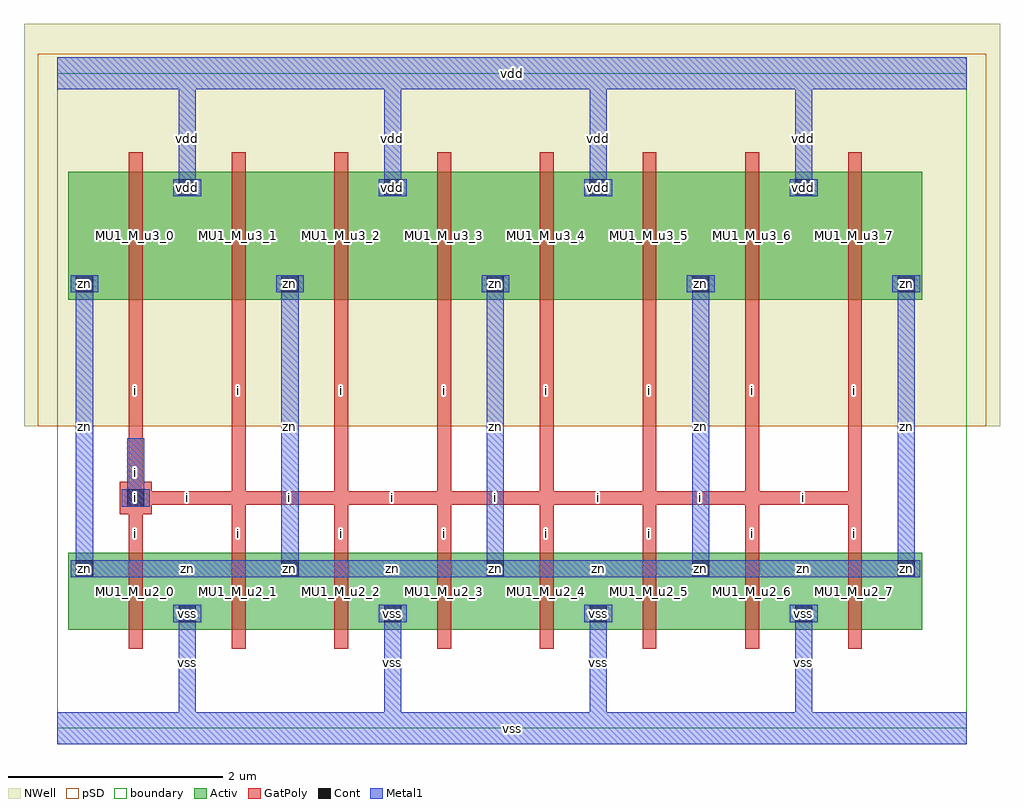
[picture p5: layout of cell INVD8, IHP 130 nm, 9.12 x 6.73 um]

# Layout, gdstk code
import gdstk
lib = gdstk.Library(unit=1e-6, precision=1e-09)
def R(c, l, rs):  # rectangles x0, y0, x1, y1
    for r in rs: c.add(gdstk.rectangle(r[:2], r[2:], *l))
def A(c, l, x, y, w, h, nx, ny, dx, dy):  # array of equal rectangles
    R(c, l, [(x+i*dx, y+j*dy, x+i*dx+w, y+j*dy+h) for i in range(nx) for j in range(ny)])
Activ = (1, 0)
GatPoly = (5, 0)
Cont = (6, 0)
Metal1 = (8, 0)
pSD = (14, 0)
NWell = (31, 0)
TEXT = (63, 0)
boundary = (189, 4)

invd8 = lib.new_cell('INVD8')
A(invd8, Activ, 0.105, 0.92, 1.26, 0.72, 8, 1, 0.96, 0)
A(invd8, Activ, 1.065, 0.92, 0.3, 0.3, 4, 2, 1.92, 3.98)
A(invd8, Activ, 0.105, 1.34, 0.3, 0.3, 5, 2, 1.92, 2.66)
A(invd8, Activ, 0.105, 4, 1.26, 1.2, 8, 1, 0.96, 0)
A(invd8, GatPoly, 0.67, 0.74, 0.13, 1.08, 8, 1, 0.96, 0)
A(invd8, GatPoly, 0.67, 1.425, 0.13, 0.79, 8, 1, 0.96, 0)
A(invd8, GatPoly, 0.67, 2.085, 1.09, 0.13, 7, 1, 0.96, 0)
A(invd8, GatPoly, 0.67, 2.085, 0.13, 2.13, 8, 1, 0.96, 0)
A(invd8, GatPoly, 0.67, 3.82, 0.13, 1.56, 8, 1, 0.96, 0)
R(invd8, GatPoly, [(0.585,2,0.885,2.3)])
A(invd8, Cont, 1.135, 0.99, 0.16, 0.16, 4, 2, 1.92, 3.98)
A(invd8, Cont, 0.175, 1.41, 0.16, 0.16, 5, 2, 1.92, 2.66)
R(invd8, Cont, [(0.655,2.07,0.815,2.23)])
A(invd8, Metal1, 1.135, 0.07, 0.16, 1.08, 4, 2, 1.92, 4.9)
A(invd8, Metal1, 1.085, 0.99, 0.26, 0.16, 4, 2, 1.92, 3.98)
A(invd8, Metal1, 0.125, 1.41, 0.26, 0.16, 5, 2, 1.92, 2.66)
A(invd8, Metal1, 0.175, 1.41, 2.08, 0.16, 4, 1, 1.92, 0)
A(invd8, Metal1, 0.175, 1.41, 0.16, 2.82, 5, 1, 1.92, 0)
R(invd8, Metal1, [(0,-0.15,8.5,0.15), (0.605,2.07,0.865,2.23), (0.655,2.07,0.815,2.71), (0,5.97,8.5,6.27)])
R(invd8, pSD, [(-0.18,2.82,8.68,5.94), (-0.18,5.94,8.68,6.3)])
R(invd8, NWell, [(-0.31,2.82,8.81,6.58)])
R(invd8, boundary, [(0,0,8.5,6.12)])
invd8.add(gdstk.FlexPath([(0.105,0.41),(8.085,0.41)], 0, ends="flush", simple_path=True, layer=63, datatype=0))  # TEXT
invd8.add(gdstk.FlexPath([(0.105,1.07),(8.085,1.07)], 0, ends="flush", simple_path=True, layer=63, datatype=0))  # TEXT
invd8.add(gdstk.FlexPath([(0.105,1.49),(8.085,1.49)], 0, ends="flush", simple_path=True, layer=63, datatype=0))  # TEXT
invd8.add(gdstk.FlexPath([(0.105,2.15),(8.085,2.15)], 0, ends="flush", simple_path=True, layer=63, datatype=0))  # TEXT
invd8.add(gdstk.FlexPath([(0.105,2.63),(8.085,2.63)], 0, ends="flush", simple_path=True, layer=63, datatype=0))  # TEXT
invd8.add(gdstk.FlexPath([(0.105,3.11),(8.085,3.11)], 0, ends="flush", simple_path=True, layer=63, datatype=0))  # TEXT
invd8.add(gdstk.FlexPath([(0.105,4.15),(8.085,4.15)], 0, ends="flush", simple_path=True, layer=63, datatype=0))  # TEXT
invd8.add(gdstk.FlexPath([(0.105,4.71),(8.085,4.71)], 0, ends="flush", simple_path=True, layer=63, datatype=0))  # TEXT
invd8.add(gdstk.FlexPath([(0.105,5.05),(8.085,5.05)], 0, ends="flush", simple_path=True, layer=63, datatype=0))  # TEXT
invd8.add(gdstk.FlexPath([(0.105,5.71),(8.085,5.71)], 0, ends="flush", simple_path=True, layer=63, datatype=0))  # TEXT
invd8.add(gdstk.FlexPath([(0.255,0.07),(0.255,6.05)], 0, ends="flush", simple_path=True, layer=63, datatype=0))  # TEXT
invd8.add(gdstk.FlexPath([(0.735,0.07),(0.735,6.05)], 0, ends="flush", simple_path=True, layer=63, datatype=0))  # TEXT
invd8.add(gdstk.FlexPath([(1.215,0.07),(1.215,6.05)], 0, ends="flush", simple_path=True, layer=63, datatype=0))  # TEXT
invd8.add(gdstk.FlexPath([(1.695,0.07),(1.695,6.05)], 0, ends="flush", simple_path=True, layer=63, datatype=0))  # TEXT
invd8.add(gdstk.FlexPath([(2.175,0.07),(2.175,6.05)], 0, ends="flush", simple_path=True, layer=63, datatype=0))  # TEXT
invd8.add(gdstk.FlexPath([(2.655,0.07),(2.655,6.05)], 0, ends="flush", simple_path=True, layer=63, datatype=0))  # TEXT
invd8.add(gdstk.FlexPath([(3.135,0.07),(3.135,6.05)], 0, ends="flush", simple_path=True, layer=63, datatype=0))  # TEXT
invd8.add(gdstk.FlexPath([(3.615,0.07),(3.615,6.05)], 0, ends="flush", simple_path=True, layer=63, datatype=0))  # TEXT
invd8.add(gdstk.FlexPath([(4.095,0.07),(4.095,6.05)], 0, ends="flush", simple_path=True, layer=63, datatype=0))  # TEXT
invd8.add(gdstk.FlexPath([(4.575,0.07),(4.575,6.05)], 0, ends="flush", simple_path=True, layer=63, datatype=0))  # TEXT
invd8.add(gdstk.FlexPath([(5.055,0.07),(5.055,6.05)], 0, ends="flush", simple_path=True, layer=63, datatype=0))  # TEXT
invd8.add(gdstk.FlexPath([(5.535,0.07),(5.535,6.05)], 0, ends="flush", simple_path=True, layer=63, datatype=0))  # TEXT
invd8.add(gdstk.FlexPath([(6.015,0.07),(6.015,6.05)], 0, ends="flush", simple_path=True, layer=63, datatype=0))  # TEXT
invd8.add(gdstk.FlexPath([(6.495,0.07),(6.495,6.05)], 0, ends="flush", simple_path=True, layer=63, datatype=0))  # TEXT
invd8.add(gdstk.FlexPath([(6.975,0.07),(6.975,6.05)], 0, ends="flush", simple_path=True, layer=63, datatype=0))  # TEXT
invd8.add(gdstk.FlexPath([(7.455,0.07),(7.455,6.05)], 0, ends="flush", simple_path=True, layer=63, datatype=0))  # TEXT
invd8.add(gdstk.FlexPath([(7.935,0.07),(7.935,6.05)], 0, ends="flush", simple_path=True, layer=63, datatype=0))  # TEXT
invd8.add(gdstk.Label('zn', (0.255,1.49), layer=6, texttype=0))
invd8.add(gdstk.Label('zn', (2.175,1.49), layer=6, texttype=0))
invd8.add(gdstk.Label('zn', (4.095,1.49), layer=6, texttype=0))
invd8.add(gdstk.Label('zn', (6.015,1.49), layer=6, texttype=0))
invd8.add(gdstk.Label('zn', (7.935,1.49), layer=6, texttype=0))
invd8.add(gdstk.Label('zn', (0.255,4.15), layer=6, texttype=0))
invd8.add(gdstk.Label('zn', (2.175,4.15), layer=6, texttype=0))
invd8.add(gdstk.Label('zn', (4.095,4.15), layer=6, texttype=0))
invd8.add(gdstk.Label('zn', (6.015,4.15), layer=6, texttype=0))
invd8.add(gdstk.Label('zn', (7.935,4.15), layer=6, texttype=0))
invd8.add(gdstk.Label('i', (0.735,2.15), layer=6, texttype=0))
invd8.add(gdstk.Label('vss', (1.215,1.07), layer=6, texttype=0))
invd8.add(gdstk.Label('vss', (3.135,1.07), layer=6, texttype=0))
invd8.add(gdstk.Label('vss', (5.055,1.07), layer=6, texttype=0))
invd8.add(gdstk.Label('vss', (6.975,1.07), layer=6, texttype=0))
invd8.add(gdstk.Label('vdd', (1.215,5.05), layer=6, texttype=0))
invd8.add(gdstk.Label('vdd', (3.135,5.05), layer=6, texttype=0))
invd8.add(gdstk.Label('vdd', (5.055,5.05), layer=6, texttype=0))
invd8.add(gdstk.Label('vdd', (6.975,5.05), layer=6, texttype=0))
invd8.add(gdstk.Label('vss', (1.215,1.07), layer=8, texttype=0))
invd8.add(gdstk.Label('vss', (1.215,0.61), layer=8, texttype=0))
invd8.add(gdstk.Label('vss', (3.135,1.07), layer=8, texttype=0))
invd8.add(gdstk.Label('vss', (3.135,0.61), layer=8, texttype=0))
invd8.add(gdstk.Label('vss', (5.055,1.07), layer=8, texttype=0))
invd8.add(gdstk.Label('vss', (5.055,0.61), layer=8, texttype=0))
invd8.add(gdstk.Label('vss', (6.975,1.07), layer=8, texttype=0))
invd8.add(gdstk.Label('vss', (6.975,0.61), layer=8, texttype=0))
invd8.add(gdstk.Label('vdd', (1.215,5.05), layer=8, texttype=0))
invd8.add(gdstk.Label('vdd', (1.215,5.51), layer=8, texttype=0))
invd8.add(gdstk.Label('vdd', (3.135,5.05), layer=8, texttype=0))
invd8.add(gdstk.Label('vdd', (3.135,5.51), layer=8, texttype=0))
invd8.add(gdstk.Label('vdd', (5.055,5.05), layer=8, texttype=0))
invd8.add(gdstk.Label('vdd', (5.055,5.51), layer=8, texttype=0))
invd8.add(gdstk.Label('vdd', (6.975,5.05), layer=8, texttype=0))
invd8.add(gdstk.Label('vdd', (6.975,5.51), layer=8, texttype=0))
invd8.add(gdstk.Label('zn', (0.255,1.49), layer=8, texttype=2))
invd8.add(gdstk.Label('zn', (2.175,1.49), layer=8, texttype=2))
invd8.add(gdstk.Label('zn', (4.095,1.49), layer=8, texttype=2))
invd8.add(gdstk.Label('zn', (6.015,1.49), layer=8, texttype=2))
invd8.add(gdstk.Label('zn', (7.935,1.49), layer=8, texttype=2))
invd8.add(gdstk.Label('zn', (0.255,4.15), layer=8, texttype=2))
invd8.add(gdstk.Label('zn', (2.175,4.15), layer=8, texttype=2))
invd8.add(gdstk.Label('zn', (4.095,4.15), layer=8, texttype=2))
invd8.add(gdstk.Label('zn', (6.015,4.15), layer=8, texttype=2))
invd8.add(gdstk.Label('zn', (7.935,4.15), layer=8, texttype=2))
invd8.add(gdstk.Label('zn', (1.215,1.49), layer=8, texttype=2))
invd8.add(gdstk.Label('zn', (3.135,1.49), layer=8, texttype=2))
invd8.add(gdstk.Label('zn', (5.055,1.49), layer=8, texttype=2))
invd8.add(gdstk.Label('zn', (6.975,1.49), layer=8, texttype=2))
invd8.add(gdstk.Label('zn', (0.255,2.82), layer=8, texttype=2))
invd8.add(gdstk.Label('zn', (2.175,2.82), layer=8, texttype=2))
invd8.add(gdstk.Label('zn', (4.095,2.82), layer=8, texttype=2))
invd8.add(gdstk.Label('zn', (6.015,2.82), layer=8, texttype=2))
invd8.add(gdstk.Label('zn', (7.935,2.82), layer=8, texttype=2))
invd8.add(gdstk.Label('i', (0.735,2.15), layer=8, texttype=2))
invd8.add(gdstk.Label('i', (0.735,2.39), layer=8, texttype=2))
invd8.add(gdstk.Label('vss', (4.25,0), layer=8, texttype=2))
invd8.add(gdstk.Label('vdd', (4.25,6.12), layer=8, texttype=2))
invd8.add(gdstk.Label('zn', (0.255,1.49), layer=8, texttype=2))
invd8.add(gdstk.Label('zn', (2.175,1.49), layer=8, texttype=2))
invd8.add(gdstk.Label('zn', (4.095,1.49), layer=8, texttype=2))
invd8.add(gdstk.Label('zn', (6.015,1.49), layer=8, texttype=2))
invd8.add(gdstk.Label('zn', (7.935,1.49), layer=8, texttype=2))
invd8.add(gdstk.Label('zn', (0.255,4.15), layer=8, texttype=2))
invd8.add(gdstk.Label('zn', (2.175,4.15), layer=8, texttype=2))
invd8.add(gdstk.Label('zn', (4.095,4.15), layer=8, texttype=2))
invd8.add(gdstk.Label('zn', (6.015,4.15), layer=8, texttype=2))
invd8.add(gdstk.Label('zn', (7.935,4.15), layer=8, texttype=2))
invd8.add(gdstk.Label('zn', (1.215,1.49), layer=8, texttype=2))
invd8.add(gdstk.Label('zn', (3.135,1.49), layer=8, texttype=2))
invd8.add(gdstk.Label('zn', (5.055,1.49), layer=8, texttype=2))
invd8.add(gdstk.Label('zn', (6.975,1.49), layer=8, texttype=2))
invd8.add(gdstk.Label('zn', (0.255,2.82), layer=8, texttype=2))
invd8.add(gdstk.Label('zn', (2.175,2.82), layer=8, texttype=2))
invd8.add(gdstk.Label('zn', (4.095,2.82), layer=8, texttype=2))
invd8.add(gdstk.Label('zn', (6.015,2.82), layer=8, texttype=2))
invd8.add(gdstk.Label('zn', (7.935,2.82), layer=8, texttype=2))
invd8.add(gdstk.Label('i', (0.735,2.15), layer=8, texttype=2))
invd8.add(gdstk.Label('i', (0.735,2.39), layer=8, texttype=2))
invd8.add(gdstk.Label('vss', (4.25,0), layer=8, texttype=2))
invd8.add(gdstk.Label('vdd', (4.25,6.12), layer=8, texttype=2))
invd8.add(gdstk.Label('MU1_M_u2_0', (0.735,1.28), layer=1, texttype=0))
invd8.add(gdstk.Label('MU1_M_u2_1', (1.695,1.28), layer=1, texttype=0))
invd8.add(gdstk.Label('MU1_M_u2_2', (2.655,1.28), layer=1, texttype=0))
invd8.add(gdstk.Label('MU1_M_u2_3', (3.615,1.28), layer=1, texttype=0))
invd8.add(gdstk.Label('MU1_M_u2_4', (4.575,1.28), layer=1, texttype=0))
invd8.add(gdstk.Label('MU1_M_u2_5', (5.535,1.28), layer=1, texttype=0))
invd8.add(gdstk.Label('MU1_M_u2_6', (6.495,1.28), layer=1, texttype=0))
invd8.add(gdstk.Label('MU1_M_u2_7', (7.455,1.28), layer=1, texttype=0))
invd8.add(gdstk.Label('MU1_M_u3_0', (0.735,4.6), layer=1, texttype=0))
invd8.add(gdstk.Label('MU1_M_u3_1', (1.695,4.6), layer=1, texttype=0))
invd8.add(gdstk.Label('MU1_M_u3_2', (2.655,4.6), layer=1, texttype=0))
invd8.add(gdstk.Label('MU1_M_u3_3', (3.615,4.6), layer=1, texttype=0))
invd8.add(gdstk.Label('MU1_M_u3_4', (4.575,4.6), layer=1, texttype=0))
invd8.add(gdstk.Label('MU1_M_u3_5', (5.535,4.6), layer=1, texttype=0))
invd8.add(gdstk.Label('MU1_M_u3_6', (6.495,4.6), layer=1, texttype=0))
invd8.add(gdstk.Label('MU1_M_u3_7', (7.455,4.6), layer=1, texttype=0))
invd8.add(gdstk.Label('zn', (0.255,1.49), layer=1, texttype=0))
invd8.add(gdstk.Label('zn', (2.175,1.49), layer=1, texttype=0))
invd8.add(gdstk.Label('zn', (4.095,1.49), layer=1, texttype=0))
invd8.add(gdstk.Label('zn', (6.015,1.49), layer=1, texttype=0))
invd8.add(gdstk.Label('zn', (7.935,1.49), layer=1, texttype=0))
invd8.add(gdstk.Label('zn', (0.255,4.15), layer=1, texttype=0))
invd8.add(gdstk.Label('zn', (2.175,4.15), layer=1, texttype=0))
invd8.add(gdstk.Label('zn', (4.095,4.15), layer=1, texttype=0))
invd8.add(gdstk.Label('zn', (6.015,4.15), layer=1, texttype=0))
invd8.add(gdstk.Label('zn', (7.935,4.15), layer=1, texttype=0))
invd8.add(gdstk.Label('vss', (1.215,1.07), layer=1, texttype=0))
invd8.add(gdstk.Label('vss', (3.135,1.07), layer=1, texttype=0))
invd8.add(gdstk.Label('vss', (5.055,1.07), layer=1, texttype=0))
invd8.add(gdstk.Label('vss', (6.975,1.07), layer=1, texttype=0))
invd8.add(gdstk.Label('vdd', (1.215,5.05), layer=1, texttype=0))
invd8.add(gdstk.Label('vdd', (3.135,5.05), layer=1, texttype=0))
invd8.add(gdstk.Label('vdd', (5.055,5.05), layer=1, texttype=0))
invd8.add(gdstk.Label('vdd', (6.975,5.05), layer=1, texttype=0))
invd8.add(gdstk.Label('zn', (0.255,1.49), layer=8, texttype=25))
invd8.add(gdstk.Label('zn', (2.175,1.49), layer=8, texttype=25))
invd8.add(gdstk.Label('zn', (4.095,1.49), layer=8, texttype=25))
invd8.add(gdstk.Label('zn', (6.015,1.49), layer=8, texttype=25))
invd8.add(gdstk.Label('zn', (7.935,1.49), layer=8, texttype=25))
invd8.add(gdstk.Label('zn', (0.255,4.15), layer=8, texttype=25))
invd8.add(gdstk.Label('zn', (2.175,4.15), layer=8, texttype=25))
invd8.add(gdstk.Label('zn', (4.095,4.15), layer=8, texttype=25))
invd8.add(gdstk.Label('zn', (6.015,4.15), layer=8, texttype=25))
invd8.add(gdstk.Label('zn', (7.935,4.15), layer=8, texttype=25))
invd8.add(gdstk.Label('zn', (1.215,1.49), layer=8, texttype=25))
invd8.add(gdstk.Label('zn', (3.135,1.49), layer=8, texttype=25))
invd8.add(gdstk.Label('zn', (5.055,1.49), layer=8, texttype=25))
invd8.add(gdstk.Label('zn', (6.975,1.49), layer=8, texttype=25))
invd8.add(gdstk.Label('zn', (0.255,2.82), layer=8, texttype=25))
invd8.add(gdstk.Label('zn', (2.175,2.82), layer=8, texttype=25))
invd8.add(gdstk.Label('zn', (4.095,2.82), layer=8, texttype=25))
invd8.add(gdstk.Label('zn', (6.015,2.82), layer=8, texttype=25))
invd8.add(gdstk.Label('zn', (7.935,2.82), layer=8, texttype=25))
invd8.add(gdstk.Label('i', (0.735,2.15), layer=8, texttype=25))
invd8.add(gdstk.Label('i', (0.735,2.39), layer=8, texttype=25))
invd8.add(gdstk.Label('vss', (4.25,0), layer=8, texttype=25))
invd8.add(gdstk.Label('vdd', (4.25,6.12), layer=8, texttype=25))
invd8.add(gdstk.Label('i', (0.735,1.82), layer=5, texttype=0))
invd8.add(gdstk.Label('i', (1.215,2.15), layer=5, texttype=0))
invd8.add(gdstk.Label('i', (1.695,1.82), layer=5, texttype=0))
invd8.add(gdstk.Label('i', (2.175,2.15), layer=5, texttype=0))
invd8.add(gdstk.Label('i', (2.655,1.82), layer=5, texttype=0))
invd8.add(gdstk.Label('i', (3.135,2.15), layer=5, texttype=0))
invd8.add(gdstk.Label('i', (3.615,1.82), layer=5, texttype=0))
invd8.add(gdstk.Label('i', (4.095,2.15), layer=5, texttype=0))
invd8.add(gdstk.Label('i', (4.575,1.82), layer=5, texttype=0))
invd8.add(gdstk.Label('i', (5.055,2.15), layer=5, texttype=0))
invd8.add(gdstk.Label('i', (5.535,1.82), layer=5, texttype=0))
invd8.add(gdstk.Label('i', (6.015,2.15), layer=5, texttype=0))
invd8.add(gdstk.Label('i', (6.495,1.82), layer=5, texttype=0))
invd8.add(gdstk.Label('i', (6.975,2.15), layer=5, texttype=0))
invd8.add(gdstk.Label('i', (7.455,1.82), layer=5, texttype=0))
invd8.add(gdstk.Label('i', (0.735,3.15), layer=5, texttype=0))
invd8.add(gdstk.Label('i', (1.695,3.15), layer=5, texttype=0))
invd8.add(gdstk.Label('i', (2.655,3.15), layer=5, texttype=0))
invd8.add(gdstk.Label('i', (3.615,3.15), layer=5, texttype=0))
invd8.add(gdstk.Label('i', (4.575,3.15), layer=5, texttype=0))
invd8.add(gdstk.Label('i', (5.535,3.15), layer=5, texttype=0))
invd8.add(gdstk.Label('i', (6.495,3.15), layer=5, texttype=0))
invd8.add(gdstk.Label('i', (7.455,3.15), layer=5, texttype=0))
invd8.add(gdstk.Label('i', (0.735,2.15), layer=5, texttype=0))

lib.write_gds('INVD8.gds')
